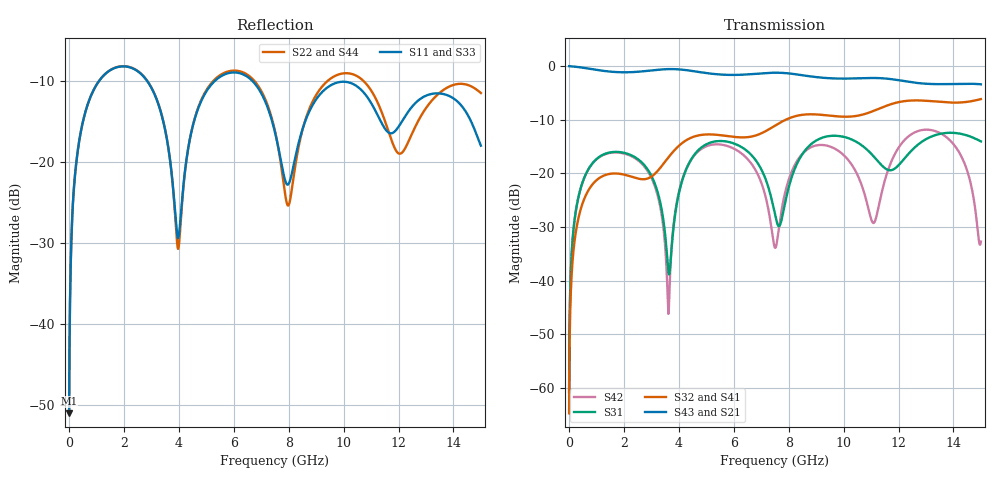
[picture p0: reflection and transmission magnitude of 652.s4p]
! Created with skrf 1.8.0 (http://scikit-rf.org).
# GHz S RI R 50.0
!freq ReS11 ImS11 ReS12 ImS12 ReS13 ImS13
! ReS14 ImS14
! ReS21 ImS21 ReS22 ImS22 ReS23 ImS23
! ReS24 ImS24
! ReS31 ImS31 ReS32 ImS32 ReS33 ImS33
! ReS34 ImS34
! ReS41 ImS41 ReS42 ImS42 ReS43 ImS43
! ReS44 ImS44
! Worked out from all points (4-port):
!   2499 points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, 5 MHz to 15 GHz, reference 50 ohm
!   strongest paths, dB at 5 MHz, 3.476 GHz, 7.19 GHz, 11.1 GHz, 15 GHz:
!     S43: 0.0, -0.6, -1.3, -2.2, -3.4
!     S21: 0.0, -0.6, -1.3, -2.2, -3.4
!     S32: -64.8, -18.0, -12.1, -8.4, -6.2
!     S41: -64.8, -18.0, -12.1, -8.4, -6.2
!     S31: -60.8, -30.3, -21.5, -16.9, -14.1
!     S42: -60.8, -32.0, -25.0, -29.3, -32.7
!   lowest |S11| = -51.0 dB at 5 MHz (marker M1), VSWR 1.01, Z = 50.2 + j0.171 ohm
!   |S11| at or under -10 dB: start of sweep to 1.086 GHz; 2.856 GHz to 5.296 GHz (2.44 GHz wide, 59.9 % of centre); 6.693 GHz to end of sweep
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0.005  0.00225 0.00171  0.9977 -0.00437  0.000116 0.000906  -0.000112 -0.000567
       0.9977 -0.00437  0.00225 0.00171  -0.000112 -0.000567  0.000116 0.000906
       0.000116 0.000906  -0.000112 -0.000567  0.00225 0.00171  0.9977 -0.00437
       -0.000112 -0.000567  0.000116 0.000906  0.9977 -0.00437  0.00225 0.00171
0.3126303  0.0411 0.1081  0.9432 -0.2678  0.0201 0.0511  -0.0164 -0.0309
           0.9432 -0.2678  0.0412 0.1081  -0.0164 -0.0309  0.0196 0.0513
           0.0201 0.0511  -0.0164 -0.0309  0.0411 0.1081  0.9432 -0.2678
           -0.0164 -0.0309  0.0196 0.0513  0.9432 -0.2678  0.0412 0.1081
1.419341  0.337 0.1331  0.3756 -0.8089  0.1518 0.0312  -0.0953 0.0227
          0.3756 -0.8089  0.3384 0.1317  -0.0954 0.0228  0.1486 0.0383
          0.1518 0.0312  -0.0954 0.0228  0.3371 0.1332  0.3755 -0.8089
          -0.0953 0.0227  0.1486 0.0383  0.3755 -0.8089  0.3385 0.1316
3.990909  0.0344 0.00405  -0.9304 -0.052  0.00631 0.0626  -0.005 0.1792
          -0.9304 -0.052  0.0295 0.00346  -0.00437 0.1793  0.00679 0.0647
          0.00631 0.0626  -0.00437 0.1793  0.0337 0.00303  -0.9304 -0.0521
          -0.005 0.1792  0.00679 0.0647  -0.9304 -0.0521  0.0303 0.00256
7.903293  0.0727 -0.0172  0.8384 0.1866  -0.00968 0.0573  0.0627 -0.3105
          0.8384 0.1866  0.0541 -0.0234  0.0599 -0.311  -0.00768 0.0709
          -0.00968 0.0573  0.0599 -0.311  0.0733 -0.0151  0.8388 0.1845
          0.0627 -0.3105  -0.00768 0.0709  0.8388 0.1845  0.0525 -0.0215
11.96749  0.1604 0.0271  -0.7163 -0.1876  -0.0579 0.101  -0.1104 0.4452
          -0.7163 -0.1876  0.111 -0.0292  -0.1056 0.4465  0.000265 0.1677
          -0.0579 0.101  -0.1056 0.4465  0.1593 0.029  -0.7174 -0.1828
          -0.1104 0.4452  0.000265 0.1677  -0.7174 -0.1828  0.1118 -0.0252
15  0.1256 -0.0164  0.3003 0.608  -0.0941 -0.1746  0.4356 -0.2268
    0.3003 0.608  0.2544 -0.0839  0.4316 -0.2364  0.0142 0.0182
    -0.0941 -0.1746  0.4316 -0.2364  0.1392 -0.0104  0.3047 0.6032
    0.4356 -0.2268  0.0142 0.0182  0.3047 0.6032  0.2576 -0.0975
